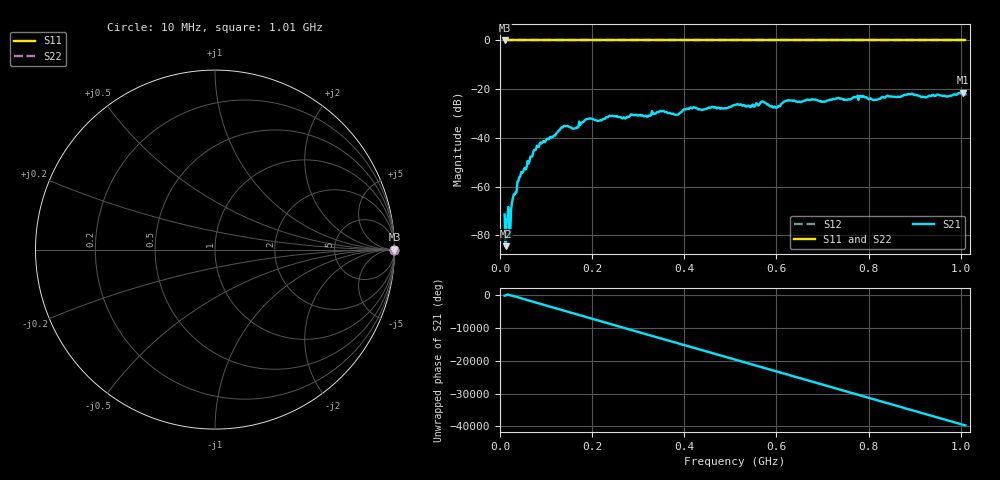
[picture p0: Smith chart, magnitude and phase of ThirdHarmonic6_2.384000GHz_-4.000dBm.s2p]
! 8/17/2025 3:49:02 AM
! C:\ANRITSUVNA\TEMP\TEMP.S2P
! CHANNEL.1
! TR.MEASUREMENT
! RAW.DATA
! RF.CORRECTION.OFF
! AVERAGING.OFF
! IF.BANDWIDTH: 5KHZ
! SWEEPTYPE:  FREQ.SWEEP(Linear)
! Reference Plane Port Info
! PORT:  PORT1  PORT2
! DISTANCE:  0  m  0  m
! TIME:  0  s  0  s
! PHASE.OFFSET:  0  deg.  0  deg.
! LOSS:  0  dB  0  dB
! REF.LOSS:  0  dB  0  dB
! REF.FREQ:  0  Hz  0  Hz
! Power Info
! POWER:  -20  dBm  -20  dBm
! EFF.POWER:  -20  dBm  -20  dBm
! SOURCE.ATTEN:  0  dB  0  dB
! TEST.ATTEN:  0  dB  0  dB
# GHZ S RI R 50.0
! FREQ.GHZ  S11RE  S11IM  S21RE  S21IM  S12RE  S12IM  S22RE  S22IM
!; PortSelection: Port_12
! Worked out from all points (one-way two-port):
!   501 points, 10 MHz to 1.01 GHz, reference 50 ohm
!   highest |S21| = -21.46 dB at 1.004 GHz (marker M1); lowest = -84.4 dB at 12 MHz (marker M2)
!   lowest |S11| = 0.0 dB at 10 MHz (marker M3)
!   |S11| at or under -10 dB: nowhere
!   |S22| runs from 0.0 to 0.0 dB; largest |S21 - S12| = 1.1
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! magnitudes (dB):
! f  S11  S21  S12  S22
! 10 MHz  0.0  -71.4  0.0  0.0
! 12 MHz  0.0  -84.4  0.0  0.0
! 18 MHz  0.0  -68.4  0.0  0.0
! 24 MHz  0.0  -69.5  0.0  0.0
! 28 MHz  0.0  -64.7  0.0  0.0
! 42 MHz  0.0  -56.1  0.0  0.0
! 78 MHz  0.0  -44.8  0.0  0.0
! 136 MHz  0.0  -35.7  0.0  0.0
! 162 MHz  0.0  -36.1  0.0  0.0
! 178 MHz  0.0  -33.6  0.0  0.0
! 192 MHz  0.0  -32.2  0.0  0.0
! 344 MHz  0.0  -29.4  0.0  0.0
! 384 MHz  0.0  -30.5  0.0  0.0
! 416 MHz  0.0  -27.9  0.0  0.0
! 510 MHz  0.0  -26.5  0.0  0.0
! 570 MHz  0.0  -25.1  0.0  0.0
! 598 MHz  0.0  -27.4  0.0  0.0
! 622 MHz  0.0  -24.7  0.0  0.0
! 678 MHz  0.0  -24.2  0.0  0.0
! 844 MHz  0.0  -23.0  0.0  0.0
! 1.004 GHz  0.0  -21.5  0.0  0.0
! 1.01 GHz  0.0  -22.1  0.0  0.0
